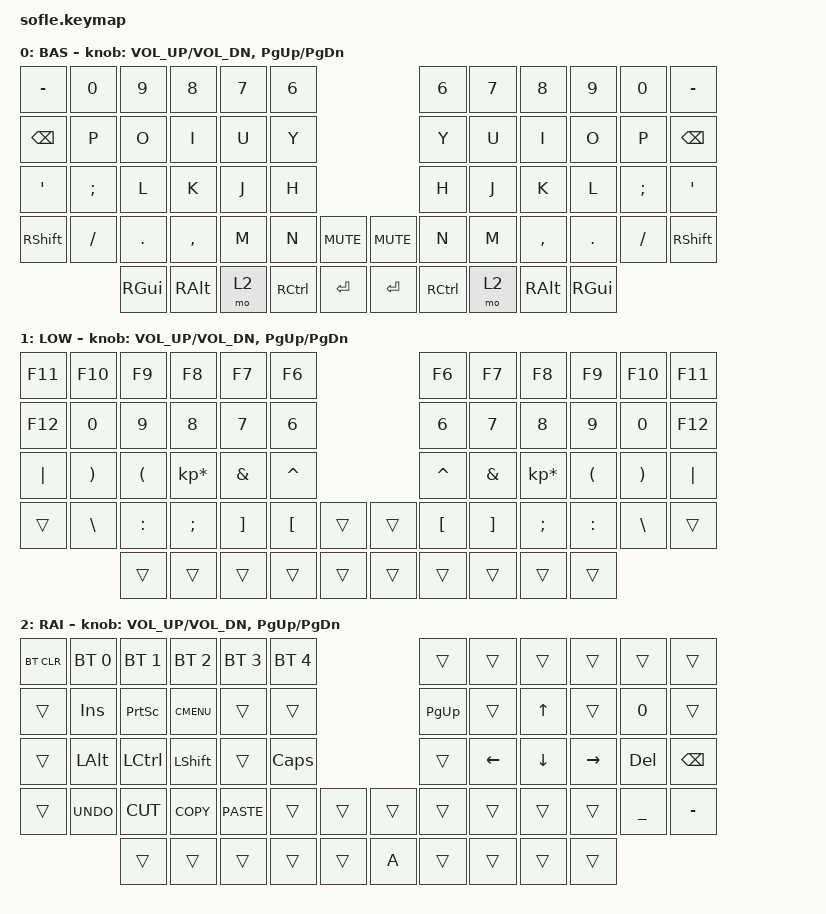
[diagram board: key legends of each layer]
/*
 * Copyright (c) 2020 The ZMK Contributors
 *
 * SPDX-License-Identifier: MIT
 */

#include <behaviors.dtsi>
#include <dt-bindings/zmk/bt.h>
#include <dt-bindings/zmk/keys.h>

/ {
    keymap {
        compatible = "zmk,keymap";

        default_layer {
            display-name = "BAS";

            // ------------------------------------------------------------------------------------------------------------
            // |  `    |  1  |  2  |  3   |  4   |  5   |                   |  6   |  7    |  8    |  9   |   0   |       |
            // |  ESC  |  Q  |  W  |  E   |  R   |  T   |                   |  Y   |  U    |  I    |  O   |   P   | BKSPC |
            // |  TAB  |  A  |  S  |  D   |  F   |  G   |                   |  H   |  J    |  K    |  L   |   ;   |   '   |
            // | SHIFT |  Z  |  X  |  C   |  V   |  B   |  MUTE  |  |       |  N   |  M    |  ,    |  .   |   /   | SHIFT |
            //               | GUI | ALT  | CTRL | LOWER|  ENTER |  | SPACE | RAISE| CTRL  | ALT   | GUI  |

            bindings = <
&kp MINUS   &kp N0   &kp N9    &kp N8    &kp N7  &kp N6                                      &kp N6             &kp N7  &kp N8     &kp N9    &kp N0    &kp MINUS
&kp BSPC    &kp P    &kp O     &kp I     &kp U   &kp Y                                       &kp Y              &kp U   &kp I      &kp O     &kp P     &kp BSPC
&kp SQT     &kp SEMI &kp L     &kp K     &kp J   &kp H                                       &kp H              &kp J   &kp K      &kp L     &kp SEMI  &kp SQT
&kp RSHFT   &kp FSLH &kp DOT   &kp COMMA &kp M   &kp N             &kp C_MUTE    &kp C_MUTE  &kp N              &kp M   &kp COMMA  &kp DOT   &kp FSLH  &kp RSHFT
                     &kp RGUI  &kp RALT  &mo 2   &kp RIGHT_CONTROL &kp ENTER     &kp ENTER   &kp RIGHT_CONTROL  &mo 2   &kp RALT   &kp RGUI
            >;

            sensor-bindings = <&inc_dec_kp C_VOL_UP C_VOL_DN &inc_dec_kp PG_UP PG_DN>;
        };

        lower_layer {
            display-name = "LOW";

            // ------------------------------------------------------------------------------------------------------------
            // | `     |  F1 |  F2 |  F3  |  F4  |  F5  |                   |  F6  |  F7   |  F8   |  F9  |  F10  |  F11  |
            // | RAISE |   1 |   2 |   3  |   4  |   5  |                   |   6  |   7   |   8   |   9  |    0  |  F12  |
            // |       |  !  |  @  |  #   |  $   |  %   |                   |  ^   |  &    |  *    |  (   |   )   |   |   |
            // |       |  =  |  -  |  +   |  {   |  }   |        |  |       |  [   |  ]    |  ;    |  :   |   \   |       |
            //               |     |      |      |      |        |  |       |      |       |       |      |

            bindings = <
&kp F11    &kp F10    &kp F9     &kp F8           &kp F7      &kp F6                                  &kp F6     &kp F7    &kp F8           &kp F9     &kp F10   &kp F11
&kp F12    &kp N0     &kp N9     &kp N8           &kp N7      &kp N6                                  &kp N6     &kp N7    &kp N8           &kp N9     &kp N0    &kp F12
&kp PIPE   &kp RPAR   &kp LPAR   &kp KP_MULTIPLY  &kp AMPS    &kp CARET                               &kp CARET  &kp AMPS  &kp KP_MULTIPLY  &kp LPAR   &kp RPAR  &kp PIPE
&trans     &kp BSLH   &kp COLON  &kp SEMI         &kp RBKT    &kp LBKT    &trans              &trans  &kp LBKT   &kp RBKT  &kp SEMI         &kp COLON  &kp BSLH  &trans
                      &trans     &trans           &trans      &trans      &trans              &trans  &trans     &trans    &trans           &trans
            >;

            sensor-bindings = <&inc_dec_kp C_VOL_UP C_VOL_DN &inc_dec_kp PG_UP PG_DN>;
        };

        raise_layer {
            display-name = "RAI";

            // ------------------------------------------------------------------------------------------------------------
            // |BTCLR| BT1  | BT2  |  BT3  |  BT4  |  BT5 |                |      |      |       |      |       |       |
            // |     | INS  | PSCR | GUI   |       |      |                | PGUP |      |       |      |       |       |
            // |     | ALT  | CTRL | SHIFT |       | CAPS |                |  <-  |   v  |   ^   |  ->  |  DEL  | BKSPC |
            // |     | UNDO | CUT  | COPY  | PASTE |      |      |  |      |      |      |       |      |       |       |
            //              |      |       |       |      |      |  |      |      |      |       |      |

            bindings = <
&bt BT_CLR  &bt BT_SEL 0  &bt BT_SEL 1  &bt BT_SEL 2  &bt BT_SEL 3  &bt BT_SEL 4                    &trans     &trans    &trans          &trans     &trans     &trans
&trans      &kp INS       &kp PSCRN     &kp K_CMENU   &trans        &trans                          &kp PG_UP  &trans    &kp UP_ARROW    &trans     &kp N0     &trans
&trans      &kp LALT      &kp LCTRL     &kp LSHFT     &trans        &kp CLCK                        &trans     &kp LEFT  &kp DOWN_ARROW  &kp RIGHT  &kp DEL    &kp BSPC
&trans      &kp K_UNDO    &kp K_CUT     &kp K_COPY    &kp K_PASTE   &trans        &trans    &trans  &trans     &trans    &trans          &trans     &kp UNDER  &kp MINUS
                          &trans        &trans        &trans        &trans        &trans    &kp A   &trans     &trans    &trans          &trans
            >;

            sensor-bindings = <&inc_dec_kp C_VOL_UP C_VOL_DN &inc_dec_kp PG_UP PG_DN>;
        };
    };
};
